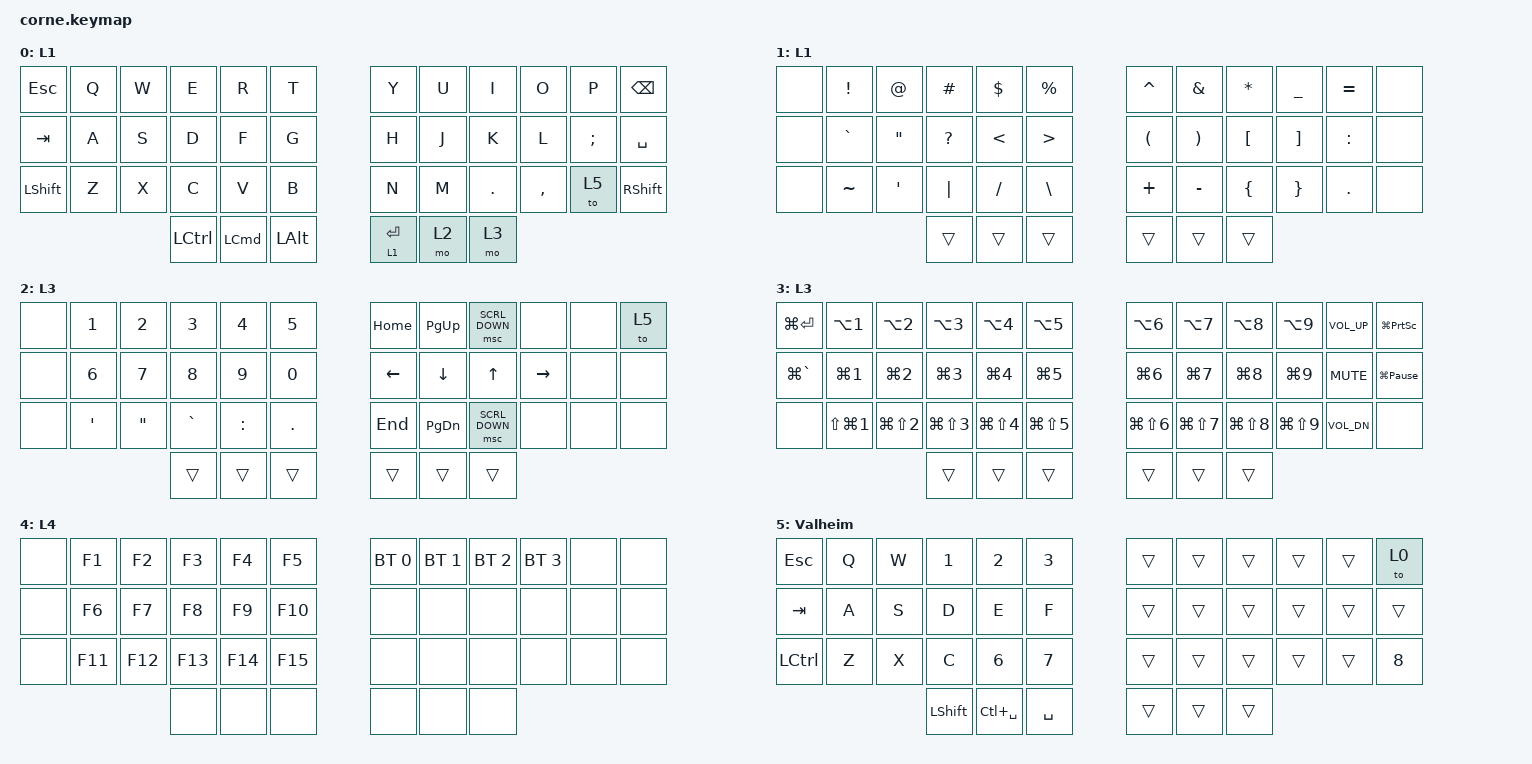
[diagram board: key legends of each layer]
/*
 * Copyright (c) 2020 The ZMK Contributors
 *
 * SPDX-License-Identifier: MIT
 */

#include <behaviors.dtsi>
#include <dt-bindings/zmk/bt.h>
#include <dt-bindings/zmk/keys.h>
#include <dt-bindings/zmk/pointing.h>

/ {
    behaviors {
        htl: htl {
            compatible = "zmk,behavior-hold-tap";
            label = "Hold Tab Switch Later";
            bindings = <&mo>, <&kp>;

            #binding-cells = <2>;
            tapping-term-ms = <200>;
            quick-tap-ms = <50>;
            hold-while-undecided;
        };
    };

    keymap {
        compatible = "zmk,keymap";

        L0 {
            // -----------------------------------------------------------------------------------------
            // |  TAB |  Q  |  W  |  E  |  R  |  T  |   |  Y  |  U   |  I  |  O  |  P  | BKSP |
            // | CTRL |  A  |  S  |  D  |  F  |  G  |   |  H  |  J   |  K  |  L  |  ;  |  '   |
            // | SHFT |  Z  |  X  |  C  |  V  |  B  |   |  N  |  M   |  ,  |  .  |  /  | ESC  |
            //                    | GUI | LWR | SPC |   | ENT | RSE  | ALT |

            display-name = "L1";
            bindings = <
&kp ESCAPE  &kp Q  &kp W  &kp E             &kp R     &kp T           &kp Y         &kp U  &kp I       &kp O      &kp P          &kp BACKSPACE
&kp TAB     &kp A  &kp S  &kp D             &kp F     &kp G           &kp H         &kp J  &kp K       &kp L      &kp SEMICOLON  &kp SPACE
&kp LSHIFT  &kp Z  &kp X  &kp C             &kp V     &kp B           &kp N         &kp M  &kp PERIOD  &kp COMMA  &to 5          &kp RSHIFT
                          &kp LEFT_CONTROL  &kp LCMD  &kp LEFT_ALT    &htl 1 ENTER  &mo 2  &mo 3
            >;

            label = "L0";
        };

        L1 {
            // -----------------------------------------------------------------------------------------
            // |  TAB |  !  |  @  |  #  |  $  |  %  |   |  ^  |  &  |  *  |  (  |  )  | BKSP |
            // | CTRL |     |     |     |     |     |   |  -  |  =  |  [  |  ]  |  \  |  `   |
            // | SHFT |     |     |     |     |     |   |  _  |  +  |  {  |  }  | "|" |  ~   |
            //                    | GUI |     | SPC |   | ENT |     | ALT |

            display-name = "L1";
            bindings = <
&none  &kp EXCLAMATION  &kp AT_SIGN        &kp HASH      &kp DOLLAR     &kp PERCENT         &kp CARET             &kp AMPERSAND          &kp ASTERISK    &kp UNDERSCORE     &kp EQUAL   &none
&none  &kp GRAVE        &kp DOUBLE_QUOTES  &kp QUESTION  &kp LESS_THAN  &kp GREATER_THAN    &kp LEFT_PARENTHESIS  &kp RIGHT_PARENTHESIS  &kp LBKT        &kp RIGHT_BRACKET  &kp COLON   &none
&none  &kp TILDE        &kp SINGLE_QUOTE   &kp PIPE      &kp SLASH      &kp BACKSLASH       &kp PLUS              &kp MINUS              &kp LEFT_BRACE  &kp RBRC           &kp PERIOD  &none
                                           &trans        &trans         &trans              &trans                &trans                 &trans
            >;

            label = "L1";
        };

        L2 {
            // -----------------------------------------------------------------------------------------
            // |  TAB |  1  |  2  |  3  |  4  |  5  |   |  6  |  7  |  8  |  9  |  0  | BKSP |
            // | BTCLR| BT1 | BT2 | BT3 | BT4 | BT5 |   | LFT | DWN |  UP | RGT |     |      |
            // | SHFT |     |     |     |     |     |   |     |     |     |     |     |      |
            //                    | GUI |     | SPC |   | ENT |     | ALT |

            display-name = "L3";
            bindings = <
&none  &kp NUMBER_1      &kp NUMBER_2       &kp NUMBER_3  &kp NUMBER_4  &kp NUMBER_5    &kp HOME  &kp PAGE_UP    &msc SCRL_DOWN  &none      &none  &to 5
&none  &kp NUMBER_6      &kp NUMBER_7       &kp NUMBER_8  &kp NUMBER_9  &kp NUMBER_0    &kp LEFT  &kp DOWN       &kp UP_ARROW    &kp RIGHT  &none  &none
&none  &kp SINGLE_QUOTE  &kp DOUBLE_QUOTES  &kp GRAVE     &kp COLON     &kp DOT         &kp END   &kp PAGE_DOWN  &msc SCRL_DOWN  &none      &none  &none
                                            &trans        &trans        &trans          &trans    &trans         &trans
            >;

            label = "L2";
        };

        L3 {
            bindings = <
&kp LG(ENTER)  &kp LA(NUMBER_1)      &kp LA(NUMBER_2)      &kp LA(NUMBER_3)      &kp LA(NUMBER_4)      &kp LA(NUMBER_5)        &kp LA(NUMBER_6)      &kp LA(N7)      &kp LA(NUMBER_8)      &kp LA(NUMBER_9)      &kp C_VOLUME_UP  &kp LG(PRINTSCREEN)
&kp LG(GRAVE)  &kp LG(NUMBER_1)      &kp LG(NUMBER_2)      &kp LG(NUMBER_3)      &kp LG(NUMBER_4)      &kp LG(NUMBER_5)        &kp LG(NUMBER_6)      &kp LG(N7)      &kp LG(NUMBER_8)      &kp LG(NUMBER_9)      &kp K_MUTE       &kp LG(PAUSE_BREAK)
&none          &kp LS(LG(NUMBER_1))  &kp LG(LS(NUMBER_2))  &kp LG(LS(NUMBER_3))  &kp LG(LS(NUMBER_4))  &kp LG(LS(NUMBER_5))    &kp LG(LS(NUMBER_6))  &kp LG(LS(N7))  &kp LG(LS(NUMBER_8))  &kp LG(LS(NUMBER_9))  &kp C_VOL_DN     &none
                                                           &trans                &trans                &trans                  &trans                &trans          &trans
            >;

            label = "L3";
        };

        L4 {
            bindings = <
&none  &kp F1   &kp F2   &kp F3   &kp F4   &kp F5     &bt BT_SEL 0  &bt BT_SEL 1  &bt BT_SEL 2  &bt BT_SEL 3  &none  &none
&none  &kp F6   &kp F7   &kp F8   &kp F9   &kp F10    &none         &none         &none         &none         &none  &none
&none  &kp F11  &kp F12  &kp F13  &kp F14  &kp F15    &none         &none         &none         &none         &none  &none
                         &none    &none    &none      &none         &none         &none
            >;

            label = "L4";
        };

        Valheim {
            bindings = <
&kp ESCAPE  &kp Q  &kp W  &kp NUMBER_1    &kp NUMBER_2   &kp NUMBER_3    &trans  &trans  &trans  &trans  &trans  &to 0
&kp TAB     &kp A  &kp S  &kp D           &kp E          &kp F           &trans  &trans  &trans  &trans  &trans  &trans
&kp LCTRL   &kp Z  &kp X  &kp C           &kp NUMBER_6   &kp NUMBER_7    &trans  &trans  &trans  &trans  &trans  &kp NUMBER_8
                          &kp LEFT_SHIFT  &kp LC(SPACE)  &kp SPACE       &trans  &trans  &trans
            >;
        };
    };

    conditional_layers {
        compatible = "zmk,conditional-layers";

        L4Activation {
            if-layers = <1 2>;
            then-layer = <4>;
        };
    };
};
